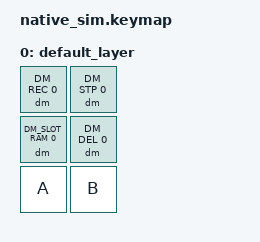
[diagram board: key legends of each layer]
#include <dt-bindings/zmk/keys.h>
#include <behaviors.dtsi>
#include <dt-bindings/zmk/kscan_mock.h>
#include <behaviors/dynamic_macro.dtsi>
#include <dt-bindings/zmk/dynamic_macros.h>

/*
 * Regression: auto-erase cancel vs. a no-cue command (the dm_feedback_pump
 * emit_active guard).
 *
 * Record "ababab" into RAM slot 0, then let the VERBOSE SAVED cue's auto-erase
 * begin emitting backspaces. Press DEL *while those backspaces are still
 * emitting* (cancelling the in-progress erase), then press RAM slot 0.
 *
 *   Fixed:  the cancelled erase's stale emit-timer fire is inert, so the machine
 *           stays in DELETE_PENDING and the slot press DELETES the macro -> the
 *           "-R0" DELETED cue is typed and NO macro is replayed.
 *   Buggy:  the stale fire reports a phantom typing_finished that reverts
 *           DELETE_PENDING -> IDLE, so the slot press PLAYS the macro instead
 *           (replaying the recorded a/b keystrokes).
 *
 * Timing is kept robust: every SETUP cue's auto-erase is allowed to fully fire
 * and drain before the next command (no cancel-timing dependence, no recording
 * collisions), and the SAVED cue's preview is long ("ababab" -> 12 backspaces)
 * so the erase-emission window is wide and the DEL press lands well inside it.
 * The SAVED erase therefore shows a PARTIAL backspace run, proving the
 * in-progress cancel path was exercised.
 *
 * TAP_DELAY=100, ERASE_DELAY=500 (see native_sim.conf).
 */

&kscan {
    rows = <3>;
    columns = <2>;
    exit-after;
};

/ {
    keymap {
        compatible = "zmk,keymap";
        default_layer {
            bindings = <
                &dm DM_REC 0        &dm DM_STP 0
                &dm DM_SLOT_RAM 0   &dm DM_DEL 0
                &kp A               &kp B
            >;
        };
    };
};

&kscan {
    events = <
        /* REC (cue ">*" then its auto-erase fires + drains by ~1100ms) */
        ZMK_MOCK_PRESS(0,0,10)
        ZMK_MOCK_RELEASE(0,0,10)
        /* record a b a b a b (real keystrokes, spaced after REC's erase drained) */
        ZMK_MOCK_PRESS(2,0,1390)
        ZMK_MOCK_RELEASE(2,0,100)
        ZMK_MOCK_PRESS(2,1,200)
        ZMK_MOCK_RELEASE(2,1,100)
        ZMK_MOCK_PRESS(2,0,200)
        ZMK_MOCK_RELEASE(2,0,100)
        ZMK_MOCK_PRESS(2,1,200)
        ZMK_MOCK_RELEASE(2,1,100)
        ZMK_MOCK_PRESS(2,0,200)
        ZMK_MOCK_RELEASE(2,0,100)
        ZMK_MOCK_PRESS(2,1,200)
        ZMK_MOCK_RELEASE(2,1,100)
        /* STP (cue ">." then its auto-erase fires + drains) */
        ZMK_MOCK_PRESS(0,1,400)
        ZMK_MOCK_RELEASE(0,1,100)
        /* SLOT_RAM 0 assign (VERBOSE SAVED cue ">R0:'ababab'"; erase fires ~500ms
         * after the cue finishes typing and emits 12 backspaces) */
        ZMK_MOCK_PRESS(1,0,1000)
        ZMK_MOCK_RELEASE(1,0,100)
        /* DEL: timed deep inside the SAVED erase emission window; cancels the
         * in-progress erase (PARTIAL backspaces in the snapshot). */
        ZMK_MOCK_PRESS(1,1,4000)
        ZMK_MOCK_RELEASE(1,1,100)
        /* SLOT_RAM 0: DELETE (fixed) vs PLAY (buggy). Long final release keeps the
         * sim alive for the DELETED cue + its trailing erase to fully drain. */
        ZMK_MOCK_PRESS(1,0,300)
        ZMK_MOCK_RELEASE(1,0,4000)
    >;
};
